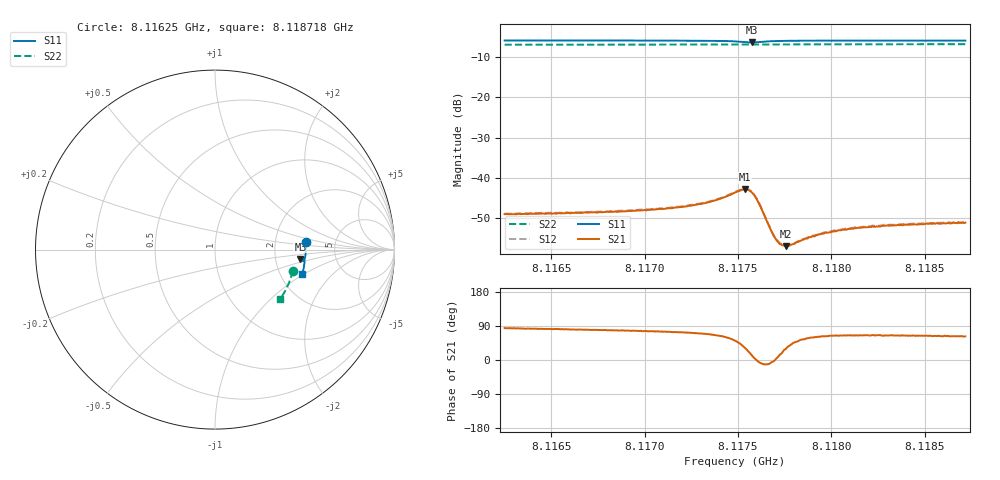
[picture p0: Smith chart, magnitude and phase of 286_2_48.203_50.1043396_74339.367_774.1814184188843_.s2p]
#  HZ  S  RI  R  50.00
! Rohde & Schwarz Vector Network Analyzer
! Rohde-Schwarz,ZNB20-2Port,1311601062101988,3.16
! Created: UTC 3/20/2024, 11:48:52 AM
! freq[Hz]  re:S11  im:S11  re:S21  im:S21  re:S12  im:S12  re:S22  im:S22
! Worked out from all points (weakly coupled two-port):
!   401 points, 8.11625 GHz to 8.118718 GHz, reference 50 ohm
!   highest |S21| = -42.84 dB at 8.11754 GHz (marker M1); lowest = -56.9 dB at 8.117756 GHz (marker M2)
!   lowest |S11| = -6.4 dB at 8.117577 GHz (marker M3), VSWR 2.84, Z = 139 - j18.8 ohm
!   |S11| at or under -10 dB: nowhere
!   |S22| runs from -7.0 to -6.8 dB; largest |S21 - S12| = 0.00018
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8.1162504e9  0.5055 0.0396  0.000371 0.00354  0.000439 0.00356  0.433 -0.1186
8.1166638e9  0.5063 0.00821  0.000638 0.00364  0.000692 0.00372  0.4257 -0.1463
8.1170771e9  0.5049 -0.024  0.00102 0.00398  0.00112 0.00403  0.4166 -0.1738
8.1172067e9  0.5035 -0.0348  0.00128 0.00419  0.00139 0.00426  0.4133 -0.1821
8.1173115e9  0.5016 -0.0444  0.00169 0.00451  0.00177 0.00459  0.4106 -0.1889
8.1174164e9  0.4972 -0.0549  0.00259 0.005  0.00269 0.00504  0.4075 -0.1957
8.1174843e9  0.4901 -0.0615  0.00413 0.00514  0.00425 0.00519  0.4051 -0.2001
8.1175398e9  0.4793 -0.0606  0.00618 0.00371  0.00634 0.00375  0.4032 -0.2034
8.1175583e9  0.4766 -0.0569  0.00658 0.00255  0.00669 0.00255  0.4027 -0.2042
8.1175768e9  0.4761 -0.0521  0.00641 0.00122  0.00656 0.00121  0.4022 -0.2051
8.1176077e9  0.4812 -0.0462  0.00505 -0.000356  0.00517 -0.000403  0.4017 -0.2067
8.1176693e9  0.4927 -0.0487  0.00239 -0.000408  0.00248 -0.000477  0.4003 -0.2107
8.1177002e9  0.4956 -0.0525  0.00178 2.33e-05  0.00181 1.27e-05  0.3996 -0.2128
8.1177249e9  0.4971 -0.0555  0.00146 0.00037  0.00151 0.000337  0.3988 -0.2144
8.1177372e9  0.4976 -0.057  0.00138 0.000489  0.0014 0.000522  0.3985 -0.2152
8.1177557e9  0.4982 -0.0592  0.00125 0.000686  0.00126 0.0007  0.398 -0.2164
8.1177927e9  0.4987 -0.0633  0.00108 0.00104  0.00113 0.00106  0.3968 -0.2188
8.1178976e9  0.4987 -0.0736  0.000958 0.00161  0.00102 0.00163  0.3935 -0.2254
8.1179655e9  0.4981 -0.0795  0.00096 0.00185  0.000989 0.00187  0.3912 -0.2298
8.1180888e9  0.4967 -0.0897  0.000978 0.0021  0.00101 0.00214  0.3871 -0.2374
8.1183109e9  0.4933 -0.1069  0.00107 0.00231  0.00111 0.00236  0.3792 -0.2509
8.1187181e9  0.4855 -0.137  0.0013 0.00247  0.00132 0.00251  0.3639 -0.2749
